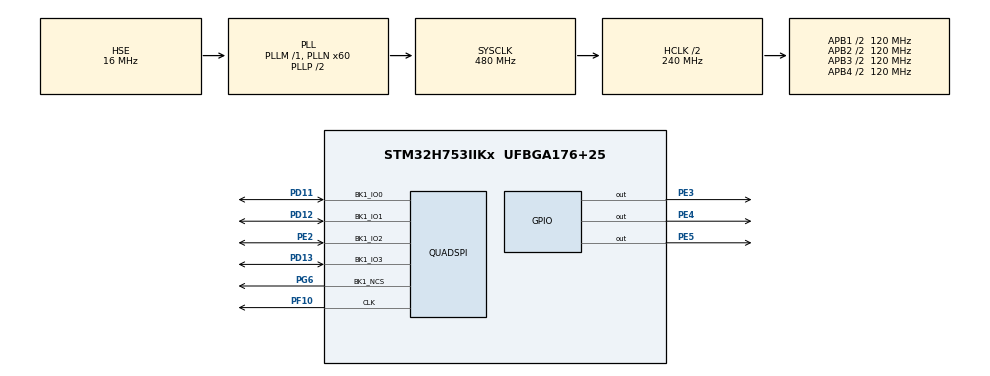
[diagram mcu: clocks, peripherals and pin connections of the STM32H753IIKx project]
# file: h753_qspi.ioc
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CORTEX_M7.default_mode_Activation=1
Mcu.Family=STM32H7
Mcu.Name=STM32H753IIKx
Mcu.Package=UFBGA176+25
Mdma.MDMA_Channel0.QUADSPI_FIFO_TH.0.BlockCount=0
Mdma.MDMA_Channel0.QUADSPI_FIFO_TH.0.BlockDataLength=0
Mdma.MDMA_Channel0.QUADSPI_FIFO_TH.0.BufferTransferLength=32
Mdma.MDMA_Channel0.QUADSPI_FIFO_TH.0.CircularMode=MDMA_LINEAR_LIST
Mdma.MDMA_Channel0.QUADSPI_FIFO_TH.0.DataAlignment=MDMA_DATAALIGN_PACKENABLE
Mdma.MDMA_Channel0.QUADSPI_FIFO_TH.0.DestBlockAddressOffset=0
Mdma.MDMA_Channel0.QUADSPI_FIFO_TH.0.DestBurst=MDMA_DEST_BURST_SINGLE
Mdma.MDMA_Channel0.QUADSPI_FIFO_TH.0.DestDataSize=MDMA_DEST_DATASIZE_BYTE
Mdma.MDMA_Channel0.QUADSPI_FIFO_TH.0.DestinationInc=MDMA_DEST_INC_BYTE
Mdma.MDMA_Channel0.QUADSPI_FIFO_TH.0.DstAddress=0
Mdma.MDMA_Channel0.QUADSPI_FIFO_TH.0.Endianness=MDMA_LITTLE_ENDIANNESS_PRESERVE
Mdma.MDMA_Channel0.QUADSPI_FIFO_TH.0.Instance=MDMA_Channel0
Mdma.MDMA_Channel0.QUADSPI_FIFO_TH.0.MaskAddress=0
Mdma.MDMA_Channel0.QUADSPI_FIFO_TH.0.MaskData=0
Mdma.MDMA_Channel0.QUADSPI_FIFO_TH.0.Priority=MDMA_PRIORITY_LOW
Mdma.MDMA_Channel0.QUADSPI_FIFO_TH.0.Rank=First
Mdma.MDMA_Channel0.QUADSPI_FIFO_TH.0.SourceBlockAddressOffset=0
Mdma.MDMA_Channel0.QUADSPI_FIFO_TH.0.SourceBurst=MDMA_SOURCE_BURST_SINGLE
Mdma.MDMA_Channel0.QUADSPI_FIFO_TH.0.SourceDataSize=MDMA_SRC_DATASIZE_BYTE
Mdma.MDMA_Channel0.QUADSPI_FIFO_TH.0.SourceInc=MDMA_SRC_INC_BYTE
Mdma.MDMA_Channel0.QUADSPI_FIFO_TH.0.SrcAddress=0
Mdma.MDMA_Channel0.QUADSPI_FIFO_TH.0.TransferTriggerMode=MDMA_BUFFER_TRANSFER
Mdma.MDMA_Channel0.Request0=QUADSPI_FIFO_TH
Mdma.MDMA_Channel0.RequestsNb=1
Mdma.RequestSet0=MDMA_Channel0
Mdma.RequestSetsNb=1
NVIC.MDMA_IRQn=true\:6\:0\:true\:false\:true\:false\:true\:true
NVIC.PriorityGroup=NVIC_PRIORITYGROUP_4
NVIC.QUADSPI_IRQn=true\:8\:0\:true\:false\:true\:true\:true\:true
PC14-OSC32_IN\ (OSC32_IN).Mode=LSE-External-Oscillator
PC14-OSC32_IN\ (OSC32_IN).Signal=RCC_OSC32_IN
PC15-OSC32_OUT\ (OSC32_OUT).Mode=LSE-External-Oscillator
PC15-OSC32_OUT\ (OSC32_OUT).Signal=RCC_OSC32_OUT
PD11.GPIO_Speed=GPIO_SPEED_FREQ_HIGH
PD11.Mode=Single Bank 1
PD11.Signal=QUADSPI_BK1_IO0
PD12.GPIO_Speed=GPIO_SPEED_FREQ_HIGH
PD12.Mode=Single Bank 1
PD12.Signal=QUADSPI_BK1_IO1
PD13.GPIO_Speed=GPIO_SPEED_FREQ_HIGH
PD13.Mode=Single Bank 1
PD13.Signal=QUADSPI_BK1_IO3
PE2.GPIO_Speed=GPIO_SPEED_FREQ_HIGH
PE2.Mode=Single Bank 1
PE2.Signal=QUADSPI_BK1_IO2
PE3.PinState=GPIO_PIN_SET
PE3.Signal=GPIO_Output
PE4.PinState=GPIO_PIN_SET
PE4.Signal=GPIO_Output
PE5.PinState=GPIO_PIN_SET
PE5.Signal=GPIO_Output
PF10.GPIO_Speed=GPIO_SPEED_FREQ_HIGH
PF10.Mode=Single Bank 1
PF10.Signal=QUADSPI_CLK
PG6.GPIO_Speed=GPIO_SPEED_FREQ_HIGH
PG6.Mode=Single Bank 1
PG6.Signal=QUADSPI_BK1_NCS
PH0-OSC_IN\ (PH0).Mode=HSE-External-Oscillator
PH0-OSC_IN\ (PH0).Signal=RCC_OSC_IN
PH1-OSC_OUT\ (PH1).Mode=HSE-External-Oscillator
PH1-OSC_OUT\ (PH1).Signal=RCC_OSC_OUT
ProjectManager.HeapSize=0x200
ProjectManager.StackSize=0x400
ProjectManager.TargetToolchain=Makefile
QUADSPI.ClockPrescaler=0
QUADSPI.FifoThreshold=32
QUADSPI.FlashSize=23
RCC.ADCFreq_Value=32250000
RCC.APB1Freq_Value=120000000
RCC.APB2Freq_Value=120000000
RCC.APB3Freq_Value=120000000
RCC.APB4Freq_Value=120000000
RCC.CortexFreq_Value=480000000
RCC.D1PPRE=RCC_APB3_DIV2
RCC.D2PPRE1=RCC_APB1_DIV2
RCC.D2PPRE2=RCC_APB2_DIV2
RCC.D3PPRE=RCC_APB4_DIV2
RCC.DIVM1=1
RCC.DIVN1=60
RCC.HCLKFreq_Value=240000000
RCC.HPRE=RCC_HCLK_DIV2
RCC.HSE_VALUE=16000000
RCC.PLL2FRACN=0
RCC.PLL3FRACN=0
RCC.PLLFRACN=0
RCC.PLLSourceVirtual=RCC_PLLSOURCE_HSE
RCC.SYSCLKFreq_VALUE=480000000
RCC.SYSCLKSource=RCC_SYSCLKSOURCE_PLLCLK
RCC.USBFreq_Value=480000000
TIM2.Period=999999
TIM2.Prescaler=239
VP_MEMORYMAP_VS_MEMORYMAP.Mode=CurAppReg
VP_TIM2_VS_ClockSourceINT.Mode=Internal
board=custom

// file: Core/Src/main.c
/* USER CODE BEGIN Header */
/**
  ******************************************************************************
  * @file           : main.c
  * @brief          : Main program body
  ******************************************************************************
  * @attention
  *
  * Copyright (c) 2025 STMicroelectronics.
  * All rights reserved.
  *
  * This software is licensed under terms that can be found in the LICENSE file
  * in the root directory of this software component.
  * If no LICENSE file comes with this software, it is provided AS-IS.
  *
  ******************************************************************************
  */
/* USER CODE END Header */
#include "main.h"
#include "mdma.h"
#include "quadspi.h"
#include "tim.h"
#include "gpio.h"

#include <string.h>
#include <stdio.h>

/* USER CODE BEGIN PD */
// DELAY_TIME is already defined in z_qflash_W25QXXX_test.h
/* USER CODE END PD */

void SystemClock_Config(void);
static void MPU_Config(void);

int main(void)
{

  /* MPU Configuration--------------------------------------------------------*/
  MPU_Config();

  /* MCU Configuration--------------------------------------------------------*/

  /* Reset of all peripherals, Initializes the Flash interface and the Systick. */
  HAL_Init();

  /* Configure the system clock */
  SystemClock_Config();

  /* Initialize all configured peripherals */
  MX_GPIO_Init();
  MX_MDMA_Init();
  MX_QUADSPI_Init();
  MX_TIM2_Init();
  HAL_TIM_Base_Start(&htim2);

  QFlash_Init();

  /* USER CODE BEGIN 2 */
  HAL_StatusTypeDef result = HAL_OK;  // Commented out unused variable
  // TIM2->EGR = 1; // Reset
  HAL_Delay(DELAY_TIME);
  /* Time test: BEGIN */
  uint32_t ttime;
  uint8_t buffer_read[1<<8]; // Test for 256B
  memset(buffer_read, 0, sizeof(buffer_read));
  uint8_t buffer_r1 = 0xFF, buffer_r2 = 0xFF, buffer_r3 = 0xFF;
  QFlash_WriteEnable();
  QFlash_ReadSR1(&buffer_r1);
  QFlash_ReadSR2(&buffer_r2);
  buffer_r2 = 0x02;
  QFlash_WriteSR2(buffer_r2);
  QFlash_ReadSR2(&buffer_r2);
  QFlash_ReadSR3(&buffer_r3);
  // uint8_t buffer_write[1<<8]; // Test for 64KB
  // for (uint32_t i=0; i<(1<<8); i++)
  //   buffer_write[i]=i&0xFF;

   // Time to erase entire chip
 //  ttime = TIM2->CNT;
 //  QFlash_ChipErase();
 //  printf("Erase time for 64KB: %u us\n", TIM2->CNT - ttime);

  // Time to write the buffer
  // ttime = TIM2->CNT;
  // QFlash_Write(0, buffer_write, sizeof(buffer_write));
  // printf("Write time for 64KB: %lu us\n", TIM2->CNT - ttime);
  // Time to read the buffer
//  ttime = TIM2->CNT;
//  QFlash_Read(0, buffer_read, 1<<16);
//  printf("Read time for 64KB: %lu us\n", TIM2->CNT - ttime);
//  buffer_read[0] = 0x63;
  // Time to erase 64KB
  // ttime = TIM2->CNT;
  // QFlash_BErase64k(0);
  // printf("Erase time for 64KB: %u us\n", TIM2->CNT - ttime);
  /* Time test: END */
  /* USER CODE END 2 */

  /* Infinite loop */
  while (1)
  {
	  BlinkIt(!result);
	  printf("hello Sphenika\n");
	  HAL_Delay(1000);
  }
}

void SystemClock_Config(void)
{
  RCC_OscInitTypeDef RCC_OscInitStruct = {0};
  RCC_ClkInitTypeDef RCC_ClkInitStruct = {0};

  /** Supply configuration update enable
  */
  HAL_PWREx_ConfigSupply(PWR_LDO_SUPPLY);

  /** Configure the main internal regulator output voltage
  */
  __HAL_PWR_VOLTAGESCALING_CONFIG(PWR_REGULATOR_VOLTAGE_SCALE0);

  while(!__HAL_PWR_GET_FLAG(PWR_FLAG_VOSRDY)) {}

  /** Initializes the RCC Oscillators according to the specified parameters
  * in the RCC_OscInitTypeDef structure.
  */
  RCC_OscInitStruct.OscillatorType = RCC_OSCILLATORTYPE_HSE;
  RCC_OscInitStruct.HSEState = RCC_HSE_ON;
  RCC_OscInitStruct.PLL.PLLState = RCC_PLL_ON;
  RCC_OscInitStruct.PLL.PLLSource = RCC_PLLSOURCE_HSE;
  RCC_OscInitStruct.PLL.PLLM = 1;
  RCC_OscInitStruct.PLL.PLLN = 60;
  RCC_OscInitStruct.PLL.PLLP = 2;
  RCC_OscInitStruct.PLL.PLLQ = 2;
  RCC_OscInitStruct.PLL.PLLR = 2;
  RCC_OscInitStruct.PLL.PLLRGE = RCC_PLL1VCIRANGE_3;
  RCC_OscInitStruct.PLL.PLLVCOSEL = RCC_PLL1VCOWIDE;
  RCC_OscInitStruct.PLL.PLLFRACN = 0;
  if (HAL_RCC_OscConfig(&RCC_OscInitStruct) != HAL_OK)
  {
    Error_Handler();
  }

  /** Initializes the CPU, AHB and APB buses clocks
  */
  RCC_ClkInitStruct.ClockType = RCC_CLOCKTYPE_HCLK|RCC_CLOCKTYPE_SYSCLK
                              |RCC_CLOCKTYPE_PCLK1|RCC_CLOCKTYPE_PCLK2
                              |RCC_CLOCKTYPE_D3PCLK1|RCC_CLOCKTYPE_D1PCLK1;
  RCC_ClkInitStruct.SYSCLKSource = RCC_SYSCLKSOURCE_PLLCLK;
  RCC_ClkInitStruct.SYSCLKDivider = RCC_SYSCLK_DIV1;
  RCC_ClkInitStruct.AHBCLKDivider = RCC_HCLK_DIV2;
  RCC_ClkInitStruct.APB3CLKDivider = RCC_APB3_DIV2;
  RCC_ClkInitStruct.APB1CLKDivider = RCC_APB1_DIV2;
  RCC_ClkInitStruct.APB2CLKDivider = RCC_APB2_DIV2;
  RCC_ClkInitStruct.APB4CLKDivider = RCC_APB4_DIV2;

  if (HAL_RCC_ClockConfig(&RCC_ClkInitStruct, FLASH_LATENCY_4) != HAL_OK)
  {
    Error_Handler();
  }
}

/* USER CODE BEGIN 4 */
int _write(int file, char *ptr, int len)
{
  (void)file;
  int DataIdx;

  for (DataIdx = 0; DataIdx < len; DataIdx++)
  {
    ITM_SendChar(*ptr++);
  }
  return len;
}
/* USER CODE END 4 */

 /* MPU Configuration */

void MPU_Config(void)
{
  MPU_Region_InitTypeDef MPU_InitStruct = {0};

  /* Disables the MPU */
  HAL_MPU_Disable();

  /** Initializes and configures the Region and the memory to be protected
  */
  MPU_InitStruct.Enable = MPU_REGION_ENABLE;
  MPU_InitStruct.Number = MPU_REGION_NUMBER0;
  MPU_InitStruct.BaseAddress = 0x0;
  MPU_InitStruct.Size = MPU_REGION_SIZE_4GB;
  MPU_InitStruct.SubRegionDisable = 0x87;
  MPU_InitStruct.TypeExtField = MPU_TEX_LEVEL0;
  MPU_InitStruct.AccessPermission = MPU_REGION_NO_ACCESS;
  MPU_InitStruct.DisableExec = MPU_INSTRUCTION_ACCESS_DISABLE;
  MPU_InitStruct.IsShareable = MPU_ACCESS_SHAREABLE;
  MPU_InitStruct.IsCacheable = MPU_ACCESS_NOT_CACHEABLE;
  MPU_InitStruct.IsBufferable = MPU_ACCESS_NOT_BUFFERABLE;

  HAL_MPU_ConfigRegion(&MPU_InitStruct);
  /* Enables the MPU */
  HAL_MPU_Enable(MPU_PRIVILEGED_DEFAULT);

}

void Error_Handler(void)
{
  __disable_irq();
  while (1)
  {
  }
}
